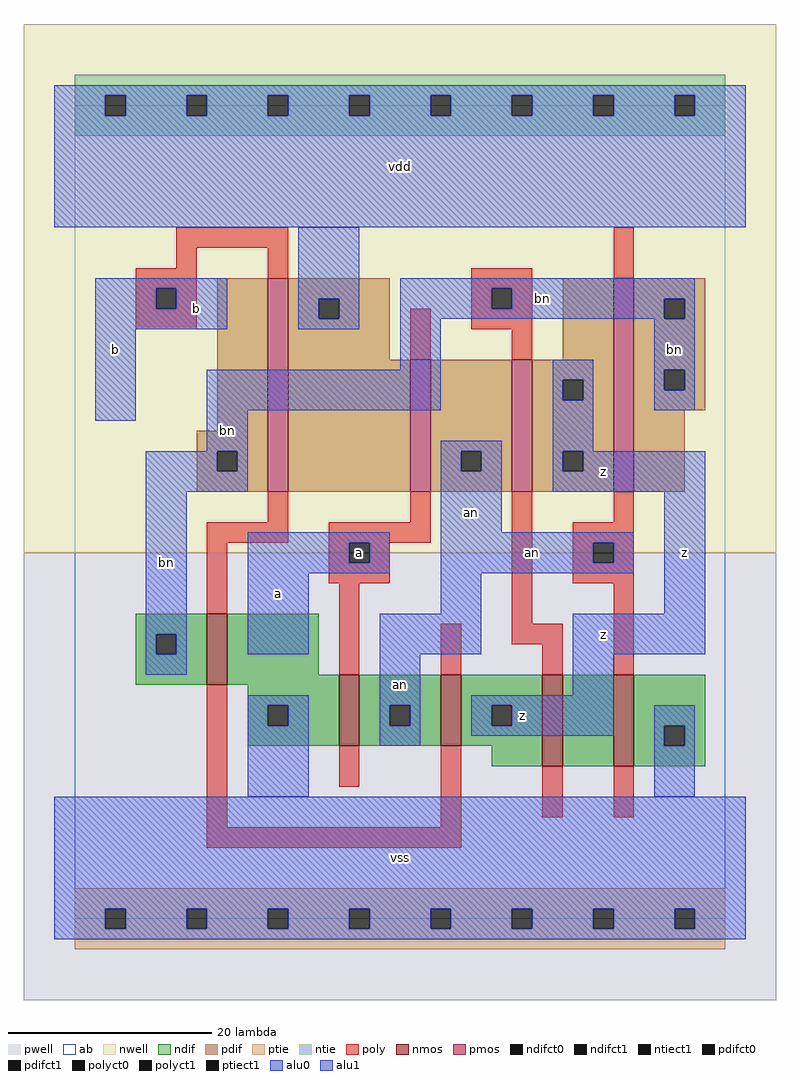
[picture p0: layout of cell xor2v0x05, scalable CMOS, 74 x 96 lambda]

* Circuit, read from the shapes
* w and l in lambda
.subckt xor2v0x05 a an b bn vdd vss z
M1 vss b bn vss nfet w=7 l=2
M2 an a vss vss nfet w=7 l=2
M3 z b an vss nfet w=7 l=2
M4 n1 bn z vss nfet w=9 l=2
M5 vss an n1 vss nfet w=9 l=2
M6 vdd b bn vdd pfet w=21 l=2
M7 an a vdd vdd pfet w=13 l=2
M8 z bn an vdd pfet w=13 l=2
M9 bn an z vdd pfet w=21 l=2
.ends

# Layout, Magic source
magic
tech scmos
<< ab >>
rect 0 0 64 80
<< nwell >>
rect -5 36 69 88
<< pwell >>
rect -5 -8 69 36
<< poly >>
rect 10 66 21 68
rect 10 64 12 66
rect 6 62 12 64
rect 19 63 21 66
rect 6 60 8 62
rect 10 60 12 62
rect 6 58 12 60
rect 39 62 45 64
rect 53 63 55 68
rect 39 60 41 62
rect 43 60 45 62
rect 33 55 35 60
rect 39 58 45 60
rect 43 55 45 58
rect 19 39 21 42
rect 33 39 35 42
rect 13 37 21 39
rect 25 37 35 39
rect 13 30 15 37
rect 25 35 27 37
rect 29 35 31 37
rect 25 33 31 35
rect 26 24 28 33
rect 43 29 45 42
rect 53 39 55 42
rect 49 37 55 39
rect 49 35 51 37
rect 53 35 55 37
rect 49 33 55 35
rect 36 24 38 29
rect 43 27 48 29
rect 46 24 48 27
rect 53 24 55 33
rect 13 9 15 23
rect 26 13 28 17
rect 36 9 38 17
rect 46 10 48 15
rect 53 10 55 15
rect 13 7 38 9
<< ndif >>
rect 6 28 13 30
rect 6 26 8 28
rect 10 26 13 28
rect 6 23 13 26
rect 15 24 24 30
rect 15 23 26 24
rect 17 21 26 23
rect 17 19 19 21
rect 21 19 26 21
rect 17 17 26 19
rect 28 21 36 24
rect 28 19 31 21
rect 33 19 36 21
rect 28 17 36 19
rect 38 21 46 24
rect 38 19 41 21
rect 43 19 46 21
rect 38 17 46 19
rect 41 15 46 17
rect 48 15 53 24
rect 55 19 62 24
rect 55 17 58 19
rect 60 17 62 19
rect 55 15 62 17
<< pdif >>
rect 14 48 19 63
rect 12 46 19 48
rect 12 44 14 46
rect 16 44 19 46
rect 12 42 19 44
rect 21 61 31 63
rect 21 59 24 61
rect 26 59 31 61
rect 21 55 31 59
rect 48 55 53 63
rect 21 42 33 55
rect 35 46 43 55
rect 35 44 38 46
rect 40 44 43 46
rect 35 42 43 44
rect 45 53 53 55
rect 45 51 48 53
rect 50 51 53 53
rect 45 46 53 51
rect 45 44 48 46
rect 50 44 53 46
rect 45 42 53 44
rect 55 61 62 63
rect 55 59 58 61
rect 60 59 62 61
rect 55 54 62 59
rect 55 52 58 54
rect 60 52 62 54
rect 55 50 62 52
rect 55 42 60 50
<< alu1 >>
rect -2 81 66 82
rect -2 79 3 81
rect 5 79 11 81
rect 13 79 19 81
rect 21 79 27 81
rect 29 79 35 81
rect 37 79 43 81
rect 45 79 51 81
rect 53 79 59 81
rect 61 79 66 81
rect -2 68 66 79
rect 2 62 15 63
rect 2 60 8 62
rect 10 60 15 62
rect 2 58 15 60
rect 2 49 6 58
rect 47 53 51 55
rect 47 51 48 53
rect 50 51 51 53
rect 47 46 51 51
rect 47 44 48 46
rect 50 44 62 46
rect 47 42 62 44
rect 17 37 31 38
rect 17 35 27 37
rect 29 35 31 37
rect 17 34 31 35
rect 17 26 23 34
rect 58 30 62 42
rect 49 26 62 30
rect 49 22 53 26
rect 39 21 53 22
rect 39 19 41 21
rect 43 19 53 21
rect 39 18 53 19
rect -2 1 66 12
rect -2 -1 3 1
rect 5 -1 11 1
rect 13 -1 19 1
rect 21 -1 27 1
rect 29 -1 35 1
rect 37 -1 43 1
rect 45 -1 51 1
rect 53 -1 59 1
rect 61 -1 66 1
rect -2 -2 66 -1
<< ptie >>
rect 0 1 64 3
rect 0 -1 3 1
rect 5 -1 11 1
rect 13 -1 19 1
rect 21 -1 27 1
rect 29 -1 35 1
rect 37 -1 43 1
rect 45 -1 51 1
rect 53 -1 59 1
rect 61 -1 64 1
rect 0 -3 64 -1
<< ntie >>
rect 0 81 64 83
rect 0 79 3 81
rect 5 79 11 81
rect 13 79 19 81
rect 21 79 27 81
rect 29 79 35 81
rect 37 79 43 81
rect 45 79 51 81
rect 53 79 59 81
rect 61 79 64 81
rect 0 77 64 79
<< nmos >>
rect 13 23 15 30
rect 26 17 28 24
rect 36 17 38 24
rect 46 15 48 24
rect 53 15 55 24
<< pmos >>
rect 19 42 21 63
rect 33 42 35 55
rect 43 42 45 55
rect 53 42 55 63
<< polyct0 >>
rect 41 60 43 62
rect 51 35 53 37
<< polyct1 >>
rect 8 60 10 62
rect 27 35 29 37
<< ndifct0 >>
rect 8 26 10 28
rect 19 19 21 21
rect 31 19 33 21
rect 58 17 60 19
<< ndifct1 >>
rect 41 19 43 21
<< ntiect1 >>
rect 3 79 5 81
rect 11 79 13 81
rect 19 79 21 81
rect 27 79 29 81
rect 35 79 37 81
rect 43 79 45 81
rect 51 79 53 81
rect 59 79 61 81
<< ptiect1 >>
rect 3 -1 5 1
rect 11 -1 13 1
rect 19 -1 21 1
rect 27 -1 29 1
rect 35 -1 37 1
rect 43 -1 45 1
rect 51 -1 53 1
rect 59 -1 61 1
<< pdifct0 >>
rect 14 44 16 46
rect 24 59 26 61
rect 38 44 40 46
rect 58 59 60 61
rect 58 52 60 54
<< pdifct1 >>
rect 48 51 50 53
rect 48 44 50 46
<< alu0 >>
rect 22 61 28 68
rect 22 59 24 61
rect 26 59 28 61
rect 22 58 28 59
rect 32 62 61 63
rect 32 60 41 62
rect 43 61 61 62
rect 43 60 58 61
rect 32 59 58 60
rect 60 59 61 61
rect 32 54 36 59
rect 13 50 36 54
rect 13 46 17 50
rect 7 44 14 46
rect 16 44 17 46
rect 7 42 17 44
rect 36 46 42 47
rect 36 44 38 46
rect 40 44 42 46
rect 7 28 11 42
rect 36 38 42 44
rect 57 54 61 59
rect 57 52 58 54
rect 60 52 61 54
rect 57 50 61 52
rect 7 26 8 28
rect 10 26 11 28
rect 36 37 55 38
rect 36 35 51 37
rect 53 35 55 37
rect 36 34 55 35
rect 36 30 40 34
rect 30 26 40 30
rect 7 24 11 26
rect 17 21 23 22
rect 17 19 19 21
rect 21 19 23 21
rect 17 12 23 19
rect 30 21 34 26
rect 30 19 31 21
rect 33 19 34 21
rect 30 17 34 19
rect 57 19 61 21
rect 57 17 58 19
rect 60 17 61 19
rect 57 12 61 17
<< labels >>
rlabel alu0 9 35 9 35 6 bn
rlabel alu0 15 48 15 48 6 bn
rlabel alu0 32 23 32 23 6 an
rlabel alu0 39 40 39 40 6 an
rlabel alu0 45 36 45 36 6 an
rlabel alu0 59 56 59 56 6 bn
rlabel alu0 46 61 46 61 6 bn
rlabel alu1 4 56 4 56 6 b
rlabel alu1 12 60 12 60 6 b
rlabel alu1 20 32 20 32 6 a
rlabel polyct1 28 36 28 36 6 a
rlabel alu1 32 6 32 6 6 vss
rlabel alu1 44 20 44 20 6 z
rlabel alu1 32 74 32 74 6 vdd
rlabel alu1 52 28 52 28 6 z
rlabel alu1 60 36 60 36 6 z
rlabel alu1 52 44 52 44 6 z
<< end >>
